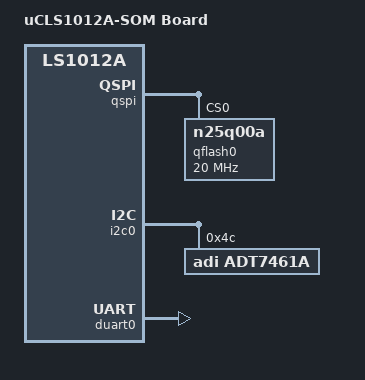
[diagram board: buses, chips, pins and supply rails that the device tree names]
// SPDX-License-Identifier: GPL-2.0+ OR X11
/*
 * Device Tree file for Arturus Layerscape-1012A family SoC.
 *
 * Copyright 2016-2020, Arcturus Networks, Inc.
 */

/include/ "fsl-ls1012a.dtsi"

/ {
	model = "uCLS1012A-SOM Board";
	aliases {
		spi0 = &qspi;
	};
};

&qspi {
	bus-num = <0>;
	status = "okay";
	u-boot,dm-pre-reloc;
	reg = <0x0 0x1550000 0x0 0x10000>,
	      <0x0 0x40000000 0x0 0x8000000>;
	reg-names = "QuadSPI", "QuadSPI-memory";
	qflash0: n25q00a@0 {
		#address-cells = <1>;
		#size-cells = <1>;
		u-boot,dm-pre-reloc;
		compatible = "n25q00a", "jedec,spi-nor";
		reg = <0>;      /* chip select */
		spi-max-frequency = <20000000>;
		m25p,fast-read;
	};
};

&i2c0 {
	status = "okay";
	adt7461a@4c {
		compatible = "adi,adt7461a";
		reg = <0x4c>;
	};
};

#define CONFIG_SYS_I2C_NCT72_ADDR	0x4C

&duart0 {
	status = "okay";
};
